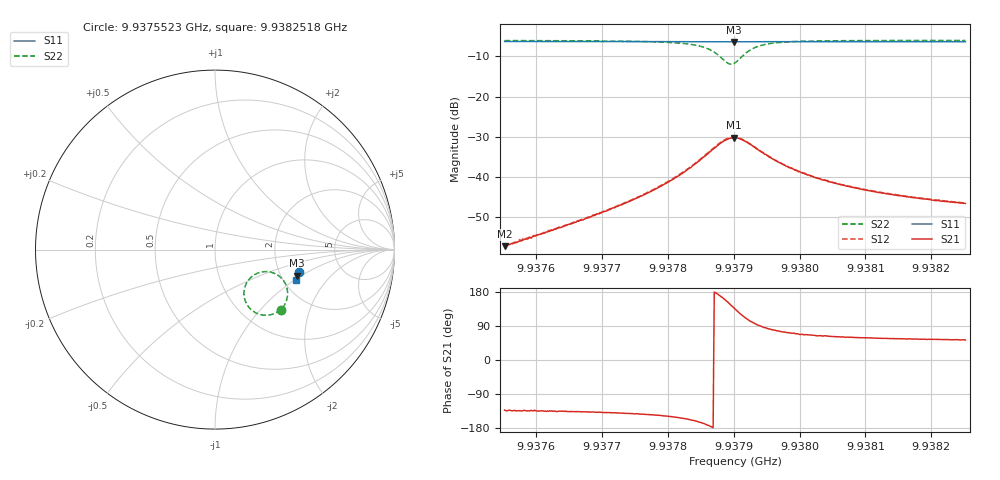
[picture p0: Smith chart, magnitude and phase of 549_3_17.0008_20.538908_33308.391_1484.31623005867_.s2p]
#  HZ  S  RI  R  50.00
! Rohde & Schwarz Vector Network Analyzer
! Rohde-Schwarz,ZNB20-2Port,1311601062101988,3.16
! Created: UTC 3/20/2024, 11:16:44 PM
! freq[Hz]  re:S11  im:S11  re:S21  im:S21  re:S12  im:S12  re:S22  im:S22
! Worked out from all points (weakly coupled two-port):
!   401 points, 9.9375523 GHz to 9.9382518 GHz, reference 50 ohm
!   highest |S21| = -30.24 dB at 9.9379003 GHz (marker M1); lowest = -57.2 dB at 9.9375523 GHz (marker M2)
!   lowest |S11| = -6.4 dB at 9.9379003 GHz (marker M3), VSWR 2.83, Z = 121 - j45.7 ohm
!   |S11| at or under -10 dB: nowhere
!   |S22| runs from -12.0 to -6.1 dB; largest |S21 - S12| = 0.0014
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9.93755232e9  0.466 -0.125  -0.000925 -0.00102  -0.000966 -0.00101  0.3665 -0.3343
9.93766949e9  0.4632 -0.1328  -0.00214 -0.00198  -0.00218 -0.002  0.3501 -0.3461
9.93774118e9  0.4616 -0.1377  -0.00383 -0.00314  -0.00396 -0.0031  0.3312 -0.3558
9.93778665e9  0.46 -0.1408  -0.00619 -0.00415  -0.00641 -0.00414  0.3089 -0.3632
9.93782512e9  0.4586 -0.1435  -0.0104 -0.00495  -0.0107 -0.00491  0.2721 -0.3654
9.93784436e9  0.4577 -0.1447  -0.0142 -0.00477  -0.0148 -0.00454  0.2404 -0.3581
9.93785835e9  0.4569 -0.1457  -0.0184 -0.00314  -0.019 -0.00288  0.2089 -0.3408
9.93787059e9  0.4561 -0.1461  -0.0228 0.000249  -0.0233 0.000831  0.1788 -0.3073
9.93788283e9  0.455 -0.1461  -0.0262 0.00694  -0.0268 0.00793  0.1613 -0.2472
9.93789332e9  0.4546 -0.1459  -0.0258 0.0155  -0.026 0.0165  0.1784 -0.1816
9.93790032e9  0.4546 -0.1458  -0.0227 0.0207  -0.0223 0.0218  0.2116 -0.1454
9.93790207e9  0.455 -0.1456  -0.0217 0.0218  -0.0211 0.0229  0.2219 -0.1388
9.93791081e9  0.4552 -0.1456  -0.0151 0.0254  -0.0146 0.0262  0.2779 -0.1226
9.93792305e9  0.4559 -0.1463  -0.00668 0.0253  -0.00615 0.0255  0.3425 -0.138
9.93794229e9  0.4565 -0.1478  0.000435 0.0204  0.00123 0.0206  0.3907 -0.1873
9.93795977e9  0.4564 -0.1494  0.00295 0.0164  0.00359 0.0163  0.4029 -0.2237
9.93798076e9  0.456 -0.1511  0.00407 0.0129  0.00441 0.0129  0.4046 -0.2529
9.93801923e9  0.4553 -0.1541  0.00424 0.0093  0.00442 0.00908  0.3984 -0.2837
9.93806645e9  0.454 -0.1573  0.00383 0.00688  0.00401 0.00686  0.39 -0.3034
9.9381364e9  0.452 -0.162  0.00334 0.00509  0.00352 0.0051  0.3799 -0.3197
9.9382046e9  0.4501 -0.1663  0.00299 0.00416  0.00309 0.00418  0.3724 -0.3293
9.93825181e9  0.4488 -0.1695  0.00281 0.00373  0.00292 0.00376  0.3679 -0.3348
